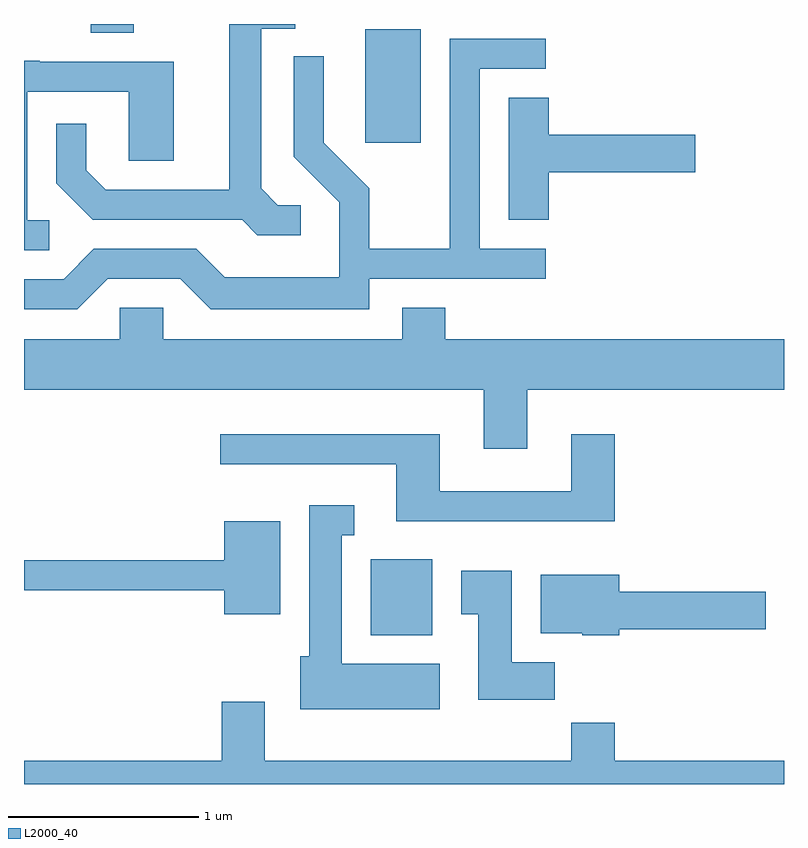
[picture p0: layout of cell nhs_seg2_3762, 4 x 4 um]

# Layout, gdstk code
import gdstk
lib = gdstk.Library(unit=1e-6, precision=1e-09)
def R(c, l, rs):  # rectangles x0, y0, x1, y1
    for r in rs: c.add(gdstk.rectangle(r[:2], r[2:], *l))
def P(c, l, *ps):  # polygons
    for p in ps: c.add(gdstk.Polygon(p, *l))
L2000_40 = (2000, 40)

nhs_seg2_3762 = lib.new_cell('nhs_seg2_3762')
R(nhs_seg2_3762, L2000_40, [(297.436,1042.586,297.759,1042.984), (297.406,1045.176,297.699,1045.774), (295.961,1045.756,296.189,1045.802)])
P(nhs_seg2_3762, L2000_40, [(297.068,1044.849),(296.947,1044.849),(296.859,1044.937),(296.859,1045.776),(297.038,1045.776),(297.038,1045.802),(296.691,1045.802),(296.691,1044.929),(296.042,1044.929),(295.939,1045.032),(295.939,1045.277),(295.781,1045.277),(295.781,1044.964),(295.974,1044.771),(296.759,1044.771),(296.839,1044.691),(297.068,1044.691)],
  [(296.052,1044.461),(296.434,1044.461),(296.594,1044.301),(297.429,1044.301),(297.429,1044.461),(298.358,1044.461),(298.358,1044.619),(298.009,1044.619),(298.009,1045.566),(298.358,1045.566),(298.358,1045.724),(297.851,1045.724),(297.851,1044.619),(297.429,1044.619),(297.429,1044.937),(297.189,1045.177),(297.189,1045.632),(297.031,1045.632),(297.031,1045.103),(297.271,1044.863),(297.271,1044.469),(296.667,1044.469),(296.517,1044.619),(295.979,1044.619),(295.819,1044.459),(295.611,1044.459),(295.611,1044.301),(295.892,1044.301)],
  [(295.743,1044.769),(295.629,1044.769),(295.629,1045.446),(296.161,1045.446),(296.161,1045.081),(296.399,1045.081),(296.399,1045.604),(295.695,1045.604),(295.695,1045.609),(295.611,1045.609),(295.611,1044.611),(295.743,1044.611)],
  [(298.374,1045.021),(299.144,1045.021),(299.144,1045.219),(298.374,1045.219),(298.374,1045.414),(298.161,1045.414),(298.161,1044.771),(298.374,1044.771)],
  [(298.259,1043.876),(299.611,1043.876),(299.611,1044.144),(297.829,1044.144),(297.829,1044.309),(297.601,1044.309),(297.601,1044.144),(296.344,1044.144),(296.344,1044.309),(296.116,1044.309),(296.116,1044.144),(295.611,1044.144),(295.611,1043.876),(298.031,1043.876),(298.031,1043.566),(298.259,1043.566)],
  [(298.719,1043.644),(298.491,1043.644),(298.491,1043.344),(297.799,1043.344),(297.799,1043.644),(296.643,1043.644),(296.643,1043.486),(297.571,1043.486),(297.571,1043.186),(298.719,1043.186)],
  [(297.799,1042.434),(297.284,1042.434),(297.284,1043.111),(297.348,1043.111),(297.348,1043.269),(297.111,1043.269),(297.111,1042.474),(297.066,1042.474),(297.066,1042.196),(297.799,1042.196)],
  [(296.959,1043.184),(296.666,1043.184),(296.666,1042.979),(295.611,1042.979),(295.611,1042.821),(296.666,1042.821),(296.666,1042.696),(296.959,1042.696)],
  [(298.404,1042.444),(298.179,1042.444),(298.179,1042.924),(297.911,1042.924),(297.911,1042.696),(298.001,1042.696),(298.001,1042.246),(298.404,1042.246)],
  [(298.744,1042.616),(299.514,1042.616),(299.514,1042.814),(298.744,1042.814),(298.744,1042.904),(298.331,1042.904),(298.331,1042.596),(298.55,1042.596),(298.55,1042.586),(298.744,1042.586)],
  [(299.611,1041.924),(298.719,1041.924),(298.719,1042.124),(298.491,1042.124),(298.491,1041.924),(296.879,1041.924),(296.879,1042.234),(296.651,1042.234),(296.651,1041.924),(295.611,1041.924),(295.611,1041.802),(299.611,1041.802)])

lib.write_gds('nhs_seg2_3762.gds')
